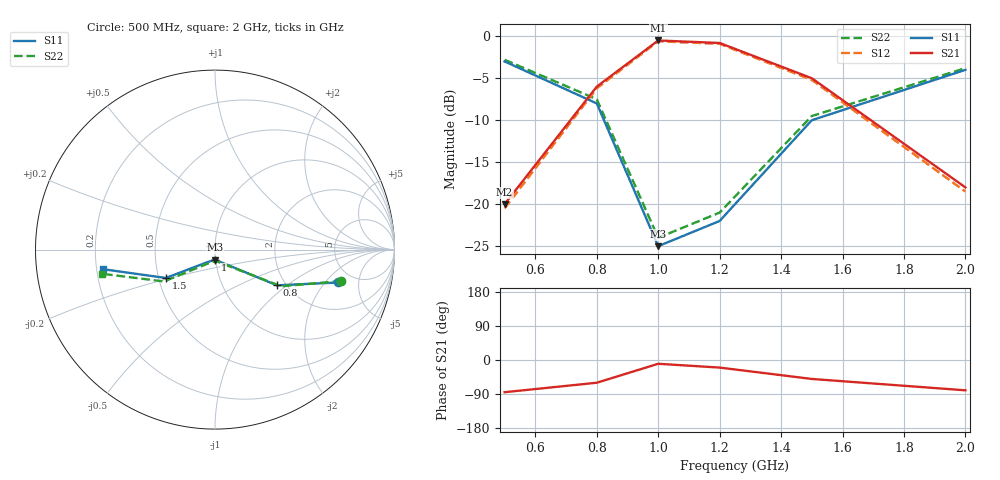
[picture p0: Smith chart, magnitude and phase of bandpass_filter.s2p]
! 2-port S-parameter data
! Device: Bandpass filter, 1-2 GHz
! Format: dB-Angle
! Reference impedance: 50 ohms
# GHZ S DB R 50
! Freq S11(dB) S11(Ang) S21(dB) S21(Ang) S12(dB) S12(Ang) S22(dB) S22(Ang)
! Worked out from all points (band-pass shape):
!   6 points, 500 MHz to 2 GHz, reference 50 ohm
!   highest |S21| = -0.50 dB at 1 GHz (marker M1); lowest = -20.0 dB at 500 MHz (marker M2)
!   |S21| within 3 dB of the highest: 890.9 MHz to 1.393 GHz (501.9 MHz wide, 44 % of centre)
!   lowest |S11| = -25.0 dB at 1 GHz (marker M3), VSWR 1.12, Z = 49.7 - j5.61 ohm
!   |S11| at or under -10 dB: 823.5 MHz to 1.5 GHz (676.5 MHz wide, 58.2 % of centre)
!   |S22| runs from -24.0 to -2.8 dB; largest |S21 - S12| = 0.02
!   S11 on the Smith chart (normalised r, x): 500 MHz: 3.74, -2.74; 800 MHz: 1.79, -0.85; 1 GHz: 0.99, -0.11; 1.5 GHz: 0.55, -0.19; 2 GHz: 0.23, -0.08
0.5  -3.00 -15.0  -20.00 -85.0  -20.50 -86.0  -2.80 -14.0
0.8  -8.00 -30.0  -6.00 -60.0  -6.20 -61.0  -7.50 -29.0
1  -25.00 -90.0  -0.50 -10.0  -0.60 -11.0  -24.00 -88.0
1.2  -22.00 -120.0  -0.80 -20.0  -0.90 -21.0  -21.00 -118.0
1.5  -10.00 -150.0  -5.00 -50.0  -5.20 -51.0  -9.50 -148.0
2  -4.00 -170.0  -18.00 -80.0  -18.50 -81.0  -3.80 -168.0
